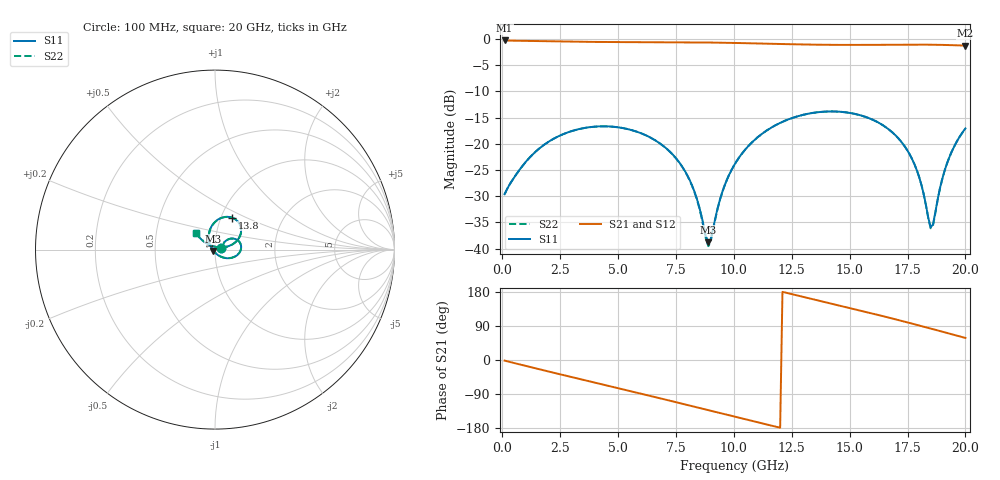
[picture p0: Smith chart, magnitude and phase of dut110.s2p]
! Touchstone file exported from HFSS 2026.1.0
!  File:  C:/ffzhzh/LocalFiles/Ansys_Project_Files/temp_train_TSV_RDL_110_1783045549_45820.aedt
!  Generated:  10:41:01 AM Jul  3, 2026
!  Design:  TSV_RDL
!  Project:  temp_train_TSV_RDL_110_1783045549_45820
! Variables:
!  h_bsmrdl = 5.68um
!  h_ox = 20um
!  h_rdl = 5um
!  h_sub = 73.38um
!  h_tmrdl = 2.35um
!  h_tsv = 73.38um
!  h_via = 3um
!  l_bsmrdl = 866.3um
!  l_sub = 4502.22um
!  l_tmrdl = 348.02um
!  m_sub = 200um
!  pitch = 30.4um
!  r_tsv = 3.57um
!  s_tmrdl = 10um
!  w_bsmrdl = 27.06um
!  w_sub = 500um
!  w_tmrdl = 10.02um
!  x_tsv_center1 = 353.03um
!  x_tsv_center2 = 1246.39um
!  x_tsv_center3 = 1604.43um
!  x_tsv_center4 = 2497.79um
!  x_tsv_center5 = 2855.83um
!  x_tsv_center6 = 3749.19um
# GHz S MA R 50.000000
! Terminal data exported
! Port[1] = TM_RDL1_1_T1
! Port[2] = TM_RDL5_1_T1
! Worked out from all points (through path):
!   200 points, 100 MHz to 20 GHz, reference 50 ohm
!   highest |S21| = -0.28 dB at 100 MHz (marker M1); lowest = -1.3 dB at 20 GHz (marker M2)
!   group delay of S21, straight-line fit = 41.5 ps
!   lowest |S11| = -38.8 dB at 8.9 GHz (marker M3), VSWR 1.02, Z = 49.2 - j0.768 ohm
!   |S11| at or under -10 dB: start of sweep to end of sweep
!   |S22| runs from -39.5 to -13.8 dB; largest |S21 - S12| = 2.1e-14
!   S11 on the Smith chart (normalised r, x): 100 MHz: 1.07, +0.01; 13.8 GHz: 1.12, +0.42; 20 GHz: 0.80, +0.15
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0.1  0.03301 12.1  0.9679 -1.7  0.9679 -1.7  0.033 12.1
! Gamma 0 0 0 0
! Port Impedance 50 0 50 0
1.6  0.09023 38.1  0.9541 -24.4  0.9541 -24.4  0.09021 38.1
3.5  0.1408 19.2  0.9399 -52.5  0.9399 -52.5  0.1408 19.3
5.2  0.1412 -3.4  0.9333 -77.3  0.9333 -77.3  0.1411 -3.2
6.8  0.1011 -27.4  0.9314 -100.8  0.9314 -100.8  0.1009 -27.0
8.1  0.0447 -54.3  0.9287 -120.3  0.9287 -120.3  0.04437 -53.3
8.4  0.03001 -66.1  0.9275 -124.8  0.9275 -124.8  0.02958 -64.7
8.9  0.01144 -137.0  0.925 -132.4  0.925 -132.4  0.01053 -137.4
9.5  0.03458 139.5  0.9209 -141.4  0.9209 -141.4  0.03442 137.9
10.1  0.06706 121.4  0.9158 -150.4  0.9158 -150.4  0.06705 120.5
11.5  0.1374 96.2  0.901 -171.4  0.901 -171.4  0.1375 95.7
13.4  0.1967 68.0  0.883 160.8  0.883 160.8  0.1969 67.7
13.8  0.2016 62.3  0.8806 155.0  0.8806 155.0  0.2017 62.0
15.4  0.1886 40.2  0.8778 131.5  0.8778 131.5  0.1888 39.9
16.7  0.1366 23.2  0.8814 111.7  0.8814 111.7  0.1367 22.8
17.8  0.06374 14.2  0.8835 94.4  0.8835 94.4  0.06382 13.6
18.1  0.04059 18.0  0.8832 89.5  0.8832 89.5  0.0406 17.2
18.5  0.01594 69.2  0.8817 83.0  0.8817 83.0  0.01558 68.2
18.6  0.01694 99.3  0.8812 81.4  0.8812 81.4  0.0165 99.1
18.9  0.0375 137.9  0.879 76.4  0.879 76.4  0.03718 138.2
19.2  0.06445 143.8  0.876 71.5  0.876 71.5  0.06419 144.0
20  0.1401 139.0  0.8639 58.2  0.8639 58.2  0.1399 139.0
